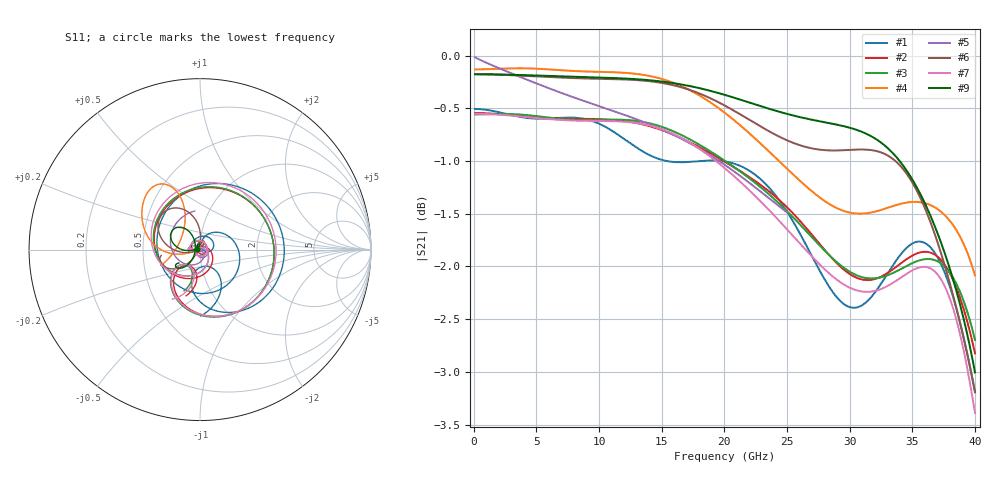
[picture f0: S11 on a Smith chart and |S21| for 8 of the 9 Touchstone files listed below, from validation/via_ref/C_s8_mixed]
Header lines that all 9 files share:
# Hz S RI R 50
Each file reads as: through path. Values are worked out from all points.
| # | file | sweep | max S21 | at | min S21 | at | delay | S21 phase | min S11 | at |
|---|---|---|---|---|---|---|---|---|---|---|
| 1 | cst.s2p | 100 MHz to 40 GHz | -0.51 dB | 100 MHz | -3.2 dB | 40 GHz | 60.3 ps | -67 deg at 20.1 GHz | -36.5 dB | 7.6 GHz |
| 2 | cst_fine.s2p | 100 MHz to 40 GHz | -0.54 dB | 200 MHz | -2.8 dB | 40 GHz | 60.7 ps | -71 deg at 20.1 GHz | -41.6 dB | 10.4 GHz |
| 3 | kisi.s2p | 100 MHz to 40 GHz | -0.55 dB | 2.4 GHz | -2.7 dB | 40 GHz | 60.8 ps | -72 deg at 20.1 GHz | -39.7 dB | 12.1 GHz |
| 4 | kisi_deembedded.s2p | 100 MHz to 40 GHz | -0.12 dB | 3.7 GHz | -2.1 dB | 40 GHz | 14 ps | -95 deg at 20.1 GHz | -40.8 dB | 11.1 GHz |
| 5 | kisi_model.s2p | 100 MHz to 25 GHz | -0.02 dB | 100 MHz | -1.5 dB | 25 GHz | 59 ps | 95 deg at 12.6 GHz | -54.9 dB | 100 MHz |
| 6 | ladder.s2p | 100 MHz to 40 GHz | -0.18 dB | 100 MHz | -3.2 dB | 40 GHz | 17.1 ps | -99 deg at 20.1 GHz | -47.9 dB | 12.5 GHz |
| 7 | openems.s2p | 100 MHz to 40 GHz | -0.55 dB | 100 MHz | -3.4 dB | 40 GHz | 61.4 ps | -75 deg at 20.1 GHz | -38.1 dB | 12.1 GHz |
| 8 | openems_base.s2p | 100 MHz to 40 GHz | -0.55 dB | 100 MHz | -3.6 dB | 40 GHz | 61.6 ps | -76 deg at 20.1 GHz | -35.7 dB | 12.2 GHz |
| 9 | pbm.s2p | 100 MHz to 40 GHz | -0.18 dB | 100 MHz | -3.0 dB | 40 GHz | 16.4 ps | -93 deg at 20.1 GHz | -35.7 dB | 11.6 GHz |
